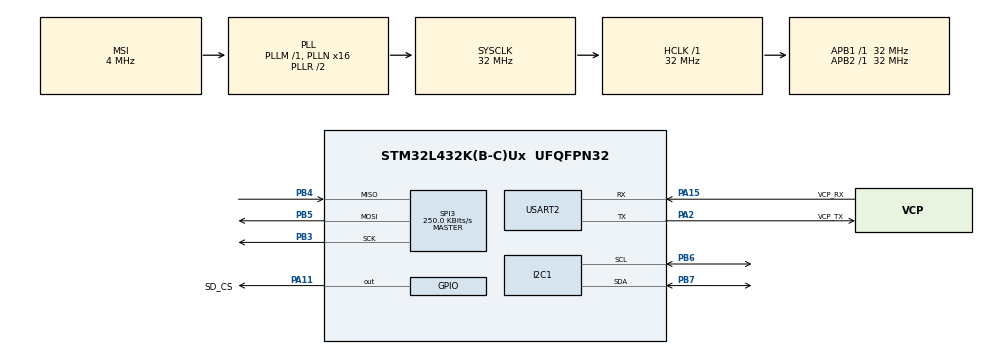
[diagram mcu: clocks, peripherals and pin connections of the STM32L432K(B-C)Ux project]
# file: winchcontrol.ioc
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FATFS._MAX_SS=4096
FATFS._USE_LFN=1
I2C1.Timing=0x00707CBB
Mcu.Family=STM32L4
Mcu.Name=STM32L432K(B-C)Ux
Mcu.Package=UFQFPN32
NVIC.PriorityGroup=NVIC_PRIORITYGROUP_4
NVIC.SPI3_IRQn=true\:0\:0\:false\:false\:true\:true\:true\:true
PA0.GPIO_Label=MCO [High speed clock in]
PA0.Mode=HSE-External-Clock-Source-for-LittleOrca
PA0.Signal=RCC_CK_IN
PA11.GPIO_Label=SD_CS
PA11.Signal=GPIO_Output
PA13\ (JTMS-SWDIO).GPIO_Label=SWDIO
PA13\ (JTMS-SWDIO).Mode=Serial_Wire
PA13\ (JTMS-SWDIO).Signal=SYS_JTMS-SWDIO
PA14\ (JTCK-SWCLK).GPIO_Label=SWCLK
PA14\ (JTCK-SWCLK).Mode=Serial_Wire
PA14\ (JTCK-SWCLK).Signal=SYS_JTCK-SWCLK
PA15\ (JTDI).GPIO_Label=VCP_RX
PA15\ (JTDI).Mode=Asynchronous
PA15\ (JTDI).Signal=USART2_RX
PA2.GPIO_Label=VCP_TX
PA2.Mode=Asynchronous
PA2.Signal=USART2_TX
PB3\ (JTDO-TRACESWO).Mode=Full_Duplex_Master
PB3\ (JTDO-TRACESWO).Signal=SPI3_SCK
PB4\ (NJTRST).Mode=Full_Duplex_Master
PB4\ (NJTRST).Signal=SPI3_MISO
PB5.Mode=Full_Duplex_Master
PB5.Signal=SPI3_MOSI
PB6.Mode=I2C
PB6.Signal=I2C1_SCL
PB7.Mode=I2C
PB7.Signal=I2C1_SDA
PC14-OSC32_IN\ (PC14).Signal=RCC_OSC32_IN
PC15-OSC32_OUT\ (PC15).Signal=RCC_OSC32_OUT
ProjectManager.HeapSize=0x200
ProjectManager.StackSize=0x400
ProjectManager.TargetToolchain=STM32CubeIDE
RCC.AHBFreq_Value=32000000
RCC.APB1Freq_Value=32000000
RCC.APB1TimFreq_Value=32000000
RCC.APB2Freq_Value=32000000
RCC.APB2TimFreq_Value=32000000
RCC.CortexFreq_Value=32000000
RCC.HCLKFreq_Value=32000000
RCC.HSE_VALUE=8000000
RCC.HSI16_VALUE=16000000
RCC.HSI48_VALUE=48000000
RCC.HSI_VALUE=16000000
RCC.MSI_VALUE=4000000
RCC.PLLMUL=RCC_PLLMUL_4
RCC.PLLN=16
RCC.SYSCLKFreq_VALUE=32000000
RCC.SYSCLKSource=RCC_SYSCLKSOURCE_PLLCLK
RCC.VCOOutputFreq_Value=64000000
SPI3.BaudRatePrescaler=SPI_BAUDRATEPRESCALER_128
SPI3.CalculateBaudRate=250.0 KBits/s
SPI3.DataSize=SPI_DATASIZE_8BIT
SPI3.Direction=SPI_DIRECTION_2LINES
SPI3.Mode=SPI_MODE_MASTER
SPI3.VirtualType=VM_MASTER
USART2.VirtualMode-Asynchronous=VM_ASYNC
VP_FATFS_VS_Generic.Mode=User_defined
board=NUCLEO-L432KC

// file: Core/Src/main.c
/* USER CODE BEGIN Header */
/**
 ******************************************************************************
 * @file           : main.c
 * @brief          : Main program body
 ******************************************************************************
 * @attention
 *
 * Copyright (c) 2024 STMicroelectronics.
 * All rights reserved.
 *
 * This software is licensed under terms that can be found in the LICENSE file
 * in the root directory of this software component.
 * If no LICENSE file comes with this software, it is provided AS-IS.
 *
 ******************************************************************************
 */
/* USER CODE END Header */
#include "main.h"
#include "fatfs.h"

/* USER CODE BEGIN Includes */
#include <stdbool.h>
#include <stdio.h>
#include <string.h>
#include <stdlib.h>
/* USER CODE END Includes */

/* USER CODE BEGIN PD */
#define I2C_ADDR 0x27 // I2C address of the PCF8574
#define RS_BIT 0 // Register select bit
#define EN_BIT 2 // Enable bit
#define BL_BIT 3 // Backlight bit
#define D4_BIT 4 // Data 4 bit
#define D5_BIT 5 // Data 5 bit
#define D6_BIT 6 // Data 6 bit
#define D7_BIT 7 // Data 7 bit

#define LCD_ROWS 2 // Number of rows on the LCD
#define LCD_COLS 16 // Number of columns on the LCD

#define OCEAN_SIZE 200
/* USER CODE END PD */

I2C_HandleTypeDef hi2c1;

SPI_HandleTypeDef hspi3;

UART_HandleTypeDef huart2;

/* USER CODE BEGIN PV */
uint8_t backlight_state = 1;

const int minTemp = 6;
const int maxTemp = 14;
/*
int surfaced = 1;
int minLight = 0;
*/
char text[17];
char num[10];

float depth;
float temp;
float oceanTemp[OCEAN_SIZE];
/* USER CODE END PV */

void SystemClock_Config(void);
static void MX_GPIO_Init(void);
static void MX_USART2_UART_Init(void);
static void MX_I2C1_Init(void);
static void MX_SPI3_Init(void);
/* USER CODE BEGIN PFP */
void winchUp(int distance);
void winchDown(int distance);
void winchStop();
void uploadData(int time, int depth, int temp);
void SystemClock_Config(void);
static void MX_GPIO_Init(void);
static void MX_USART2_UART_Init(void);
static void MX_I2C1_Init(void);

void lcd_write_nibble(uint8_t nibble, uint8_t rs);
void lcd_send_cmd(uint8_t cmd);
void lcd_send_data(uint8_t data);
void lcd_init();
void lcd_write_string(char *str);
void lcd_set_cursor(uint8_t row, uint8_t column);
void lcd_clear(void);
void lcd_backlight(uint8_t state);

void process_SD_card(void);
/* USER CODE END PFP */

int main(void) {

	/* MCU Configuration--------------------------------------------------------*/

	/* Reset of all peripherals, Initializes the Flash interface and the Systick. */
	HAL_Init();

	/* Configure the system clock */
	SystemClock_Config();

	/* Initialize all configured peripherals */
	MX_GPIO_Init();
	MX_USART2_UART_Init();
	MX_I2C1_Init();
	MX_FATFS_Init();
	MX_SPI3_Init();
	/* USER CODE BEGIN 2 */

	lcd_init();
	lcd_backlight(1); // Turn on backlight
	/*
	 strcpy(text, "Foobar");
	 lcd_clear();
	 lcd_set_cursor(0, 0);
	 lcd_write_string(text);
	 HAL_Delay(1000);

	 process_SD_card();
	 */
	float random;

	for (int count = 0; count < OCEAN_SIZE; count++) {
		random = rand() % 1 + 1; // Random number from 0 to 2
		if (count == 0) {
			oceanTemp[count] = 27;
		} else {
			oceanTemp[count] = oceanTemp[count - 1] - (random / 10);
		}
	}

	depth = rand() % 100;
	/* USER CODE END 2 */

	/* Infinite loop */
	/* USER CODE BEGIN WHILE */
	while (1) {
		/* Actual algorithm
		 if (readDay() != previousDay) {
		 surfaced = 0;
		 previousDay = currentDay();
		 }

		 int lightLevel = readLightSensor();
		 if (lightRef > minLight && surfaced == FALSE) {
		 winchUp(-1);
		 surfaced == 1;
		 } else {
		 temp = readTempSensor();
		 if (temp < minTemp) {
		 winchUp(x); // x is some fixed distance tbd later
		 } else if (temp > maxTemp) {
		 winchDown(x);
		 } else {
		 winchStop();
		 }
		 }
		 */
		// Demo algorithm
		temp = oceanTemp[(int) depth];
		process_SD_card();

		lcd_clear();
		strcpy(text, "Depth: ");
		lcd_set_cursor(0, 0);
		lcd_write_string(text);
		sprintf(num, "%d m", (int) depth); // @suppress("Float formatting support")
		lcd_set_cursor(0, 7);
		lcd_write_string(num);
		memset(num, 0, sizeof(num));
		strcpy(text, "Temp: ");
		lcd_set_cursor(1, 0);
		lcd_write_string(text);
		sprintf(num, "%d C", (int) temp); // @suppress("Float formatting support")
		lcd_set_cursor(1, 6);
		lcd_write_string(num);
		memset(num, 0, sizeof(num));

		if (temp < minTemp + 3) {
			depth -= 5;
			if (depth < 0) depth = 0;
		} else if (temp > maxTemp - 3) {
			depth += 5;
			if (depth > 200) depth = 200;
		} else {
			lcd_clear();
			strcpy(text, "Target Reached");
			lcd_set_cursor(0, 0);
			lcd_write_string(text);
			strcpy(text, "Temp:");
			lcd_set_cursor(1, 0);
			lcd_write_string(text);
			sprintf(num, "%d C", (int) temp); // @suppress("Float formatting support")
			lcd_set_cursor(1, 6);
			lcd_write_string(num);
			memset(num, 0, sizeof(num));
			HAL_Delay(10000);
			for (int count = 0; count < OCEAN_SIZE; count++) {
				random = rand() % 3 + 1; // Random number from 1 to 3
				if (count == 0) {
					oceanTemp[count] = 27;
				} else {
					oceanTemp[count] = oceanTemp[count - 1] - (random / 10);
				}
			}

			depth = rand() % 100;

			lcd_clear();
			strcpy(text, "Generating");
			lcd_set_cursor(0, 0);
			lcd_write_string(text);
			strcpy(text, "New Ocean");
			lcd_set_cursor(1, 0);
			lcd_write_string(text);

			HAL_Delay(5000);
		}

		HAL_Delay(2000);
		/* USER CODE END WHILE */

	}
}

void SystemClock_Config(void) {
	RCC_OscInitTypeDef RCC_OscInitStruct = { 0 };
	RCC_ClkInitTypeDef RCC_ClkInitStruct = { 0 };

	/** Configure the main internal regulator output voltage
	 */
	if (HAL_PWREx_ControlVoltageScaling(PWR_REGULATOR_VOLTAGE_SCALE1)
			!= HAL_OK) {
		Error_Handler();
	}

	/** Initializes the RCC Oscillators according to the specified parameters
	 * in the RCC_OscInitTypeDef structure.
	 */
	RCC_OscInitStruct.OscillatorType = RCC_OSCILLATORTYPE_MSI;
	RCC_OscInitStruct.MSIState = RCC_MSI_ON;
	RCC_OscInitStruct.MSICalibrationValue = 0;
	RCC_OscInitStruct.MSIClockRange = RCC_MSIRANGE_6;
	RCC_OscInitStruct.PLL.PLLState = RCC_PLL_ON;
	RCC_OscInitStruct.PLL.PLLSource = RCC_PLLSOURCE_MSI;
	RCC_OscInitStruct.PLL.PLLM = 1;
	RCC_OscInitStruct.PLL.PLLN = 16;
	RCC_OscInitStruct.PLL.PLLP = RCC_PLLP_DIV7;
	RCC_OscInitStruct.PLL.PLLQ = RCC_PLLQ_DIV2;
	RCC_OscInitStruct.PLL.PLLR = RCC_PLLR_DIV2;
	if (HAL_RCC_OscConfig(&RCC_OscInitStruct) != HAL_OK) {
		Error_Handler();
	}

	/** Initializes the CPU, AHB and APB buses clocks
	 */
	RCC_ClkInitStruct.ClockType = RCC_CLOCKTYPE_HCLK | RCC_CLOCKTYPE_SYSCLK
			| RCC_CLOCKTYPE_PCLK1 | RCC_CLOCKTYPE_PCLK2;
	RCC_ClkInitStruct.SYSCLKSource = RCC_SYSCLKSOURCE_PLLCLK;
	RCC_ClkInitStruct.AHBCLKDivider = RCC_SYSCLK_DIV1;
	RCC_ClkInitStruct.APB1CLKDivider = RCC_HCLK_DIV1;
	RCC_ClkInitStruct.APB2CLKDivider = RCC_HCLK_DIV1;

	if (HAL_RCC_ClockConfig(&RCC_ClkInitStruct, FLASH_LATENCY_1) != HAL_OK) {
		Error_Handler();
	}
}

static void MX_I2C1_Init(void) {

	hi2c1.Instance = I2C1;
	hi2c1.Init.Timing = 0x00707CBB;
	hi2c1.Init.OwnAddress1 = 0;
	hi2c1.Init.AddressingMode = I2C_ADDRESSINGMODE_7BIT;
	hi2c1.Init.DualAddressMode = I2C_DUALADDRESS_DISABLE;
	hi2c1.Init.OwnAddress2 = 0;
	hi2c1.Init.OwnAddress2Masks = I2C_OA2_NOMASK;
	hi2c1.Init.GeneralCallMode = I2C_GENERALCALL_DISABLE;
	hi2c1.Init.NoStretchMode = I2C_NOSTRETCH_DISABLE;
	if (HAL_I2C_Init(&hi2c1) != HAL_OK) {
		Error_Handler();
	}

	/** Configure Analogue filter
	 */
	if (HAL_I2CEx_ConfigAnalogFilter(&hi2c1, I2C_ANALOGFILTER_ENABLE)
			!= HAL_OK) {
		Error_Handler();
	}

	/** Configure Digital filter
	 */
	if (HAL_I2CEx_ConfigDigitalFilter(&hi2c1, 0) != HAL_OK) {
		Error_Handler();
	}

}

static void MX_SPI3_Init(void) {

	/* SPI3 parameter configuration*/
	hspi3.Instance = SPI3;
	hspi3.Init.Mode = SPI_MODE_MASTER;
	hspi3.Init.Direction = SPI_DIRECTION_2LINES;
	hspi3.Init.DataSize = SPI_DATASIZE_8BIT;
	hspi3.Init.CLKPolarity = SPI_POLARITY_LOW;
	hspi3.Init.CLKPhase = SPI_PHASE_1EDGE;
	hspi3.Init.NSS = SPI_NSS_SOFT;
	hspi3.Init.BaudRatePrescaler = SPI_BAUDRATEPRESCALER_128;
	hspi3.Init.FirstBit = SPI_FIRSTBIT_MSB;
	hspi3.Init.TIMode = SPI_TIMODE_DISABLE;
	hspi3.Init.CRCCalculation = SPI_CRCCALCULATION_DISABLE;
	hspi3.Init.CRCPolynomial = 7;
	hspi3.Init.CRCLength = SPI_CRC_LENGTH_DATASIZE;
	hspi3.Init.NSSPMode = SPI_NSS_PULSE_ENABLE;
	if (HAL_SPI_Init(&hspi3) != HAL_OK) {
		Error_Handler();
	}

}

static void MX_USART2_UART_Init(void) {

	huart2.Instance = USART2;
	huart2.Init.BaudRate = 115200;
	huart2.Init.WordLength = UART_WORDLENGTH_8B;
	huart2.Init.StopBits = UART_STOPBITS_1;
	huart2.Init.Parity = UART_PARITY_NONE;
	huart2.Init.Mode = UART_MODE_TX_RX;
	huart2.Init.HwFlowCtl = UART_HWCONTROL_NONE;
	huart2.Init.OverSampling = UART_OVERSAMPLING_16;
	huart2.Init.OneBitSampling = UART_ONE_BIT_SAMPLE_DISABLE;
	huart2.AdvancedInit.AdvFeatureInit = UART_ADVFEATURE_NO_INIT;
	if (HAL_UART_Init(&huart2) != HAL_OK) {
		Error_Handler();
	}

}

static void MX_GPIO_Init(void) {
	GPIO_InitTypeDef GPIO_InitStruct = { 0 };

	/* GPIO Ports Clock Enable */
	__HAL_RCC_GPIOC_CLK_ENABLE();
	__HAL_RCC_GPIOA_CLK_ENABLE();
	__HAL_RCC_GPIOB_CLK_ENABLE();

	/*Configure GPIO pin Output Level */
	HAL_GPIO_WritePin(SD_CS_GPIO_Port, SD_CS_Pin, GPIO_PIN_RESET);

	/*Configure GPIO pin : SD_CS_Pin */
	GPIO_InitStruct.Pin = SD_CS_Pin;
	GPIO_InitStruct.Mode = GPIO_MODE_OUTPUT_PP;
	GPIO_InitStruct.Pull = GPIO_NOPULL;
	GPIO_InitStruct.Speed = GPIO_SPEED_FREQ_LOW;
	HAL_GPIO_Init(SD_CS_GPIO_Port, &GPIO_InitStruct);

}

/* USER CODE BEGIN 4 */
void lcd_write_nibble(uint8_t nibble, uint8_t rs) {
	uint8_t data = nibble << D4_BIT;
	data |= rs << RS_BIT;
	data |= backlight_state << BL_BIT; // Include backlight state in data
	data |= 1 << EN_BIT;
	HAL_I2C_Master_Transmit(&hi2c1, I2C_ADDR << 1, &data, 1, 100);
	HAL_Delay(1);
	data &= ~(1 << EN_BIT);
	HAL_I2C_Master_Transmit(&hi2c1, I2C_ADDR << 1, &data, 1, 100);
}

void lcd_send_cmd(uint8_t cmd) {
	uint8_t upper_nibble = cmd >> 4;
	uint8_t lower_nibble = cmd & 0x0F;
	lcd_write_nibble(upper_nibble, 0);
	lcd_write_nibble(lower_nibble, 0);
	if (cmd == 0x01 || cmd == 0x02) {
		HAL_Delay(2);
	}
}

void lcd_send_data(uint8_t data) {
	uint8_t upper_nibble = data >> 4;
	uint8_t lower_nibble = data & 0x0F;
	lcd_write_nibble(upper_nibble, 1);
	lcd_write_nibble(lower_nibble, 1);
}

void lcd_init() {
	HAL_Delay(50);
	lcd_write_nibble(0x03, 0);
	HAL_Delay(5);
	lcd_write_nibble(0x03, 0);
	HAL_Delay(1);
	lcd_write_nibble(0x03, 0);
	HAL_Delay(1);
	lcd_write_nibble(0x02, 0);
	lcd_send_cmd(0x28);
	lcd_send_cmd(0x0C);
	lcd_send_cmd(0x06);
	lcd_send_cmd(0x01);
	HAL_Delay(2);
}

void lcd_write_string(char *str) {
	while (*str) {
		lcd_send_data(*str++);
	}
}

void lcd_set_cursor(uint8_t row, uint8_t column) {
	uint8_t address;
	switch (row) {
		case 0:
			address = 0x00;
			break;
		case 1:
			address = 0x40;
			break;
		default:
			address = 0x00;
	}
	address += column;
	lcd_send_cmd(0x80 | address);
}

void lcd_clear(void) {
	lcd_send_cmd(0x01);
	HAL_Delay(2);
}

void lcd_backlight(uint8_t state) {
	if (state) {
		backlight_state = 1;
	} else {
		backlight_state = 0;
	}
}

void process_SD_card(void) {
	FATFS *FatFs;                //Fatfs handle
	FIL fil;                  //File handle
	FRESULT fres;                 //Result after operations
	char int_to_str[10];

	do {
		FatFs = malloc(sizeof(FATFS));
		//Mount the SD Card
		fres = f_mount(FatFs, "", 0);    //1=mount now
		if (fres != FR_OK) {
			strcpy(text, "Mount failed");
			lcd_clear();
			lcd_set_cursor(0, 0);
			lcd_write_string(text);
			sprintf(int_to_str, "%d", fres);
			lcd_set_cursor(1, 0);
			lcd_write_string(int_to_str);
			HAL_Delay(1000);
			break;
		}

		//Open the file
		fres = f_open(&fil, "data_log.txt",
		FA_OPEN_APPEND | FA_WRITE);
		if (fres != FR_OK) {
			strcpy(text, "File not open");
			lcd_clear();
			lcd_set_cursor(0, 0);
			lcd_write_string(text);
			sprintf(int_to_str, "%d", fres);
			lcd_set_cursor(1, 0);
			lcd_write_string(int_to_str);
			HAL_Delay(1000);
			HAL_Delay(1000);
			break;
		}
		/*
		strcpy(text, "Writing data");
		lcd_clear();
		lcd_set_cursor(0, 0);
		lcd_write_string(text);
		HAL_Delay(1000);
		*/
		//write the data
		f_puts("Depth: ", &fil);
		sprintf(num, "%d m | ", (int) depth); // @suppress("Float formatting support")
		f_puts(num, &fil);
		memset(num, 0, sizeof(num));
		f_puts("Temp: ", &fil);
		sprintf(num, "%d m\n", (int) temp); // @suppress("Float formatting support")
		f_puts(num, &fil);
		memset(num, 0, sizeof(num));
		//close your file
		f_close(&fil);

	} while ( false);

	//We're done, so de-mount the drive
	f_mount(NULL, "", 0);
	/*
	strcpy(text, "Unmounted");
	lcd_clear();
	lcd_set_cursor(0, 0);
	lcd_write_string(text);
	HAL_Delay(1000);
	*/
	free(FatFs);
}
/* USER CODE END 4 */

void Error_Handler(void) {
	__disable_irq();
	while (1) {
	}
}
